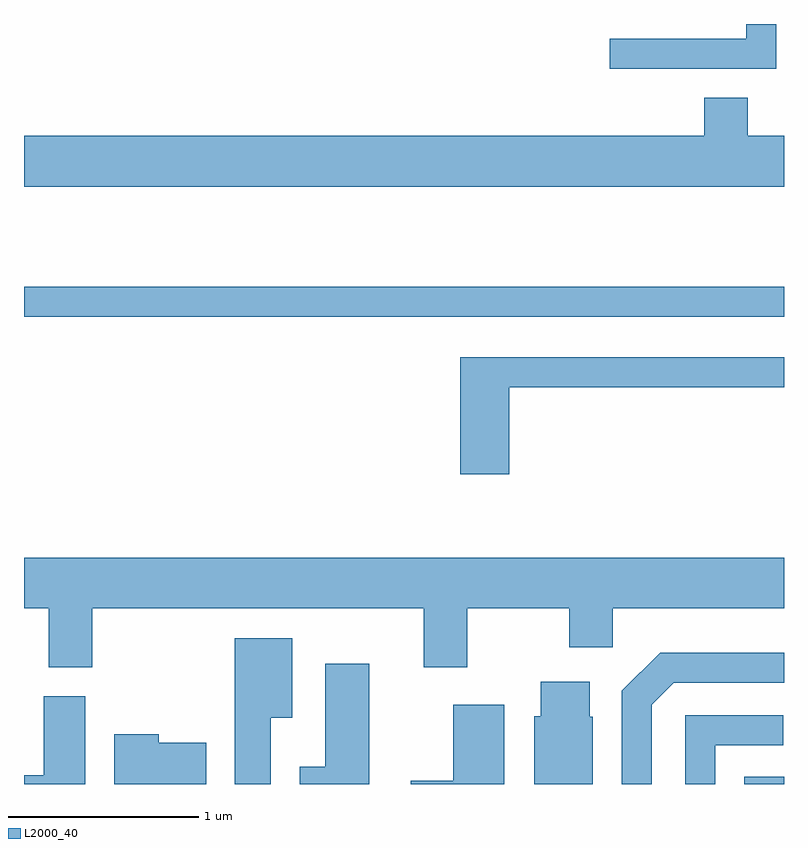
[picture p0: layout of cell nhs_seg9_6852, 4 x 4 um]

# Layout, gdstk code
import gdstk
lib = gdstk.Library(unit=1e-6, precision=1e-09)
def R(c, l, rs):  # rectangles x0, y0, x1, y1
    for r in rs: c.add(gdstk.rectangle(r[:2], r[2:], *l))
def P(c, l, *ps):  # polygons
    for p in ps: c.add(gdstk.Polygon(p, *l))
L2000_40 = (2000, 40)

nhs_seg9_6852 = lib.new_cell('nhs_seg9_6852')
R(nhs_seg9_6852, L2000_40, [(391.401,2006.432,391.611,2006.469), (387.611,2008.891,391.611,2009.049)])
P(nhs_seg9_6852, L2000_40, [(391.569,2010.432),(391.411,2010.432),(391.411,2010.354),(390.693,2010.354),(390.693,2010.196),(391.569,2010.196)],
  [(391.611,2009.844),(391.419,2009.844),(391.419,2010.044),(391.191,2010.044),(391.191,2009.844),(387.611,2009.844),(387.611,2009.576),(391.611,2009.576)],
  [(390.164,2008.521),(391.611,2008.521),(391.611,2008.679),(389.906,2008.679),(389.906,2008.061),(390.164,2008.061)],
  [(387.969,2007.356),(389.716,2007.356),(389.716,2007.046),(389.944,2007.046),(389.944,2007.356),(390.481,2007.356),(390.481,2007.151),(390.709,2007.151),(390.709,2007.356),(391.611,2007.356),(391.611,2007.624),(387.611,2007.624),(387.611,2007.356),(387.741,2007.356),(387.741,2007.046),(387.969,2007.046)],
  [(388.909,2006.781),(389.024,2006.781),(389.024,2007.199),(388.721,2007.199),(388.721,2006.432),(388.909,2006.432)],
  [(390.914,2006.849),(391.032,2006.966),(391.611,2006.966),(391.611,2007.124),(390.959,2007.124),(390.756,2006.922),(390.756,2006.432),(390.914,2006.432)],
  [(389.429,2007.064),(389.196,2007.064),(389.196,2006.524),(389.061,2006.524),(389.061,2006.432),(389.429,2006.432)],
  [(390.604,2006.785),(390.589,2006.785),(390.589,2006.969),(390.331,2006.969),(390.331,2006.789),(390.296,2006.789),(390.296,2006.432),(390.604,2006.432)],
  [(387.934,2006.894),(387.716,2006.894),(387.716,2006.479),(387.611,2006.479),(387.611,2006.432),(387.934,2006.432)],
  [(390.139,2006.849),(389.871,2006.849),(389.871,2006.449),(389.646,2006.449),(389.646,2006.432),(390.139,2006.432)],
  [(391.249,2006.636),(391.608,2006.636),(391.608,2006.794),(391.091,2006.794),(391.091,2006.432),(391.249,2006.432)],
  [(388.569,2006.649),(388.319,2006.649),(388.319,2006.694),(388.086,2006.694),(388.086,2006.432),(388.569,2006.432)])

lib.write_gds('nhs_seg9_6852.gds')
